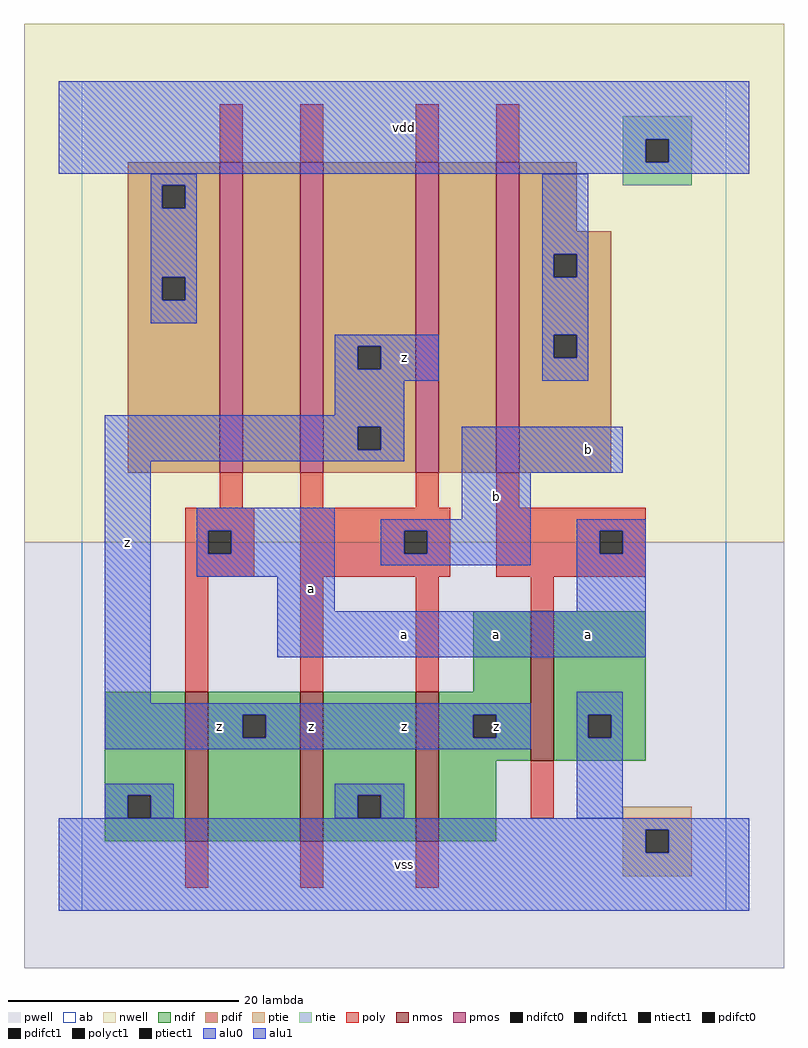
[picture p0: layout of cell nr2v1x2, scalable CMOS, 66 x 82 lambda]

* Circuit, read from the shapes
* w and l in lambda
.subckt nr2v1x2 a b vdd vss z
M1 z a vss vss nfet w=13 l=2 m=2
M2 vss b z vss nfet w=13 l=2 m=2
M3 n1 a vdd vdd pfet w=27 l=2
M4 z b n1 vdd pfet w=27 l=2
M5 n2 b z vdd pfet w=27 l=2
M6 vdd a n2 vdd pfet w=27 l=2
.ends

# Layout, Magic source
magic
tech scmos
<< ab >>
rect 0 0 56 72
<< nwell >>
rect -5 32 61 77
<< pwell >>
rect -5 -5 61 32
<< poly >>
rect 12 65 14 70
rect 19 65 21 70
rect 29 65 31 70
rect 36 65 38 70
rect 12 35 14 38
rect 19 35 21 38
rect 29 35 31 38
rect 36 35 38 38
rect 9 33 15 35
rect 9 31 11 33
rect 13 31 15 33
rect 9 29 15 31
rect 19 33 32 35
rect 19 31 28 33
rect 30 31 32 33
rect 19 29 32 31
rect 36 33 49 35
rect 36 31 45 33
rect 47 31 49 33
rect 36 29 49 31
rect 9 19 11 29
rect 19 19 21 29
rect 29 19 31 29
rect 39 26 41 29
rect 39 8 41 13
rect 9 2 11 6
rect 19 2 21 6
rect 29 2 31 6
<< ndif >>
rect 34 19 39 26
rect 2 10 9 19
rect 2 8 4 10
rect 6 8 9 10
rect 2 6 9 8
rect 11 17 19 19
rect 11 15 14 17
rect 16 15 19 17
rect 11 6 19 15
rect 21 10 29 19
rect 21 8 24 10
rect 26 8 29 10
rect 21 6 29 8
rect 31 17 39 19
rect 31 15 34 17
rect 36 15 39 17
rect 31 13 39 15
rect 41 17 49 26
rect 41 15 44 17
rect 46 15 49 17
rect 41 13 49 15
rect 31 6 36 13
<< pdif >>
rect 4 63 12 65
rect 4 61 7 63
rect 9 61 12 63
rect 4 55 12 61
rect 4 53 7 55
rect 9 53 12 55
rect 4 38 12 53
rect 14 38 19 65
rect 21 49 29 65
rect 21 47 24 49
rect 26 47 29 49
rect 21 42 29 47
rect 21 40 24 42
rect 26 40 29 42
rect 21 38 29 40
rect 31 38 36 65
rect 38 59 43 65
rect 38 57 46 59
rect 38 55 41 57
rect 43 55 46 57
rect 38 50 46 55
rect 38 48 41 50
rect 43 48 46 50
rect 38 38 46 48
<< alu1 >>
rect -2 67 58 72
rect -2 65 49 67
rect 51 65 58 67
rect -2 64 58 65
rect 22 49 31 50
rect 22 47 24 49
rect 26 47 31 49
rect 22 46 31 47
rect 22 43 28 46
rect 2 42 28 43
rect 2 40 24 42
rect 26 40 28 42
rect 2 39 28 40
rect 2 18 6 39
rect 33 38 47 42
rect 10 33 22 35
rect 33 34 39 38
rect 10 31 11 33
rect 13 31 22 33
rect 10 29 22 31
rect 26 33 39 34
rect 26 31 28 33
rect 30 31 39 33
rect 26 30 39 31
rect 43 33 49 34
rect 43 31 45 33
rect 47 31 49 33
rect 17 26 22 29
rect 43 26 49 31
rect 17 22 49 26
rect 2 17 39 18
rect 2 15 14 17
rect 16 15 34 17
rect 36 15 39 17
rect 2 14 39 15
rect -2 7 58 8
rect -2 5 49 7
rect 51 5 58 7
rect -2 0 58 5
<< ptie >>
rect 47 7 53 9
rect 47 5 49 7
rect 51 5 53 7
rect 47 3 53 5
<< ntie >>
rect 47 67 53 69
rect 47 65 49 67
rect 51 65 53 67
rect 47 63 53 65
<< nmos >>
rect 9 6 11 19
rect 19 6 21 19
rect 29 6 31 19
rect 39 13 41 26
<< pmos >>
rect 12 38 14 65
rect 19 38 21 65
rect 29 38 31 65
rect 36 38 38 65
<< polyct1 >>
rect 11 31 13 33
rect 28 31 30 33
rect 45 31 47 33
<< ndifct0 >>
rect 4 8 6 10
rect 24 8 26 10
rect 44 15 46 17
<< ndifct1 >>
rect 14 15 16 17
rect 34 15 36 17
<< ntiect1 >>
rect 49 65 51 67
<< ptiect1 >>
rect 49 5 51 7
<< pdifct0 >>
rect 7 61 9 63
rect 7 53 9 55
rect 41 55 43 57
rect 41 48 43 50
<< pdifct1 >>
rect 24 47 26 49
rect 24 40 26 42
<< alu0 >>
rect 6 63 10 64
rect 6 61 7 63
rect 9 61 10 63
rect 6 55 10 61
rect 6 53 7 55
rect 9 53 10 55
rect 6 51 10 53
rect 40 57 44 64
rect 40 55 41 57
rect 43 55 44 57
rect 40 50 44 55
rect 40 48 41 50
rect 43 48 44 50
rect 40 46 44 48
rect 43 17 47 19
rect 43 15 44 17
rect 46 15 47 17
rect 2 10 8 11
rect 2 8 4 10
rect 6 8 8 10
rect 22 10 28 11
rect 22 8 24 10
rect 26 8 28 10
rect 43 8 47 15
<< labels >>
rlabel alu1 4 32 4 32 6 z
rlabel alu1 20 16 20 16 6 z
rlabel alu1 12 16 12 16 6 z
rlabel alu1 20 28 20 28 6 a
rlabel alu1 28 4 28 4 6 vss
rlabel alu1 36 16 36 16 6 z
rlabel alu1 28 16 28 16 6 z
rlabel alu1 28 24 28 24 6 a
rlabel alu1 36 24 36 24 6 a
rlabel alu1 36 36 36 36 6 b
rlabel alu1 28 48 28 48 6 z
rlabel alu1 28 68 28 68 6 vdd
rlabel alu1 44 24 44 24 6 a
rlabel alu1 44 40 44 40 6 b
<< end >>
